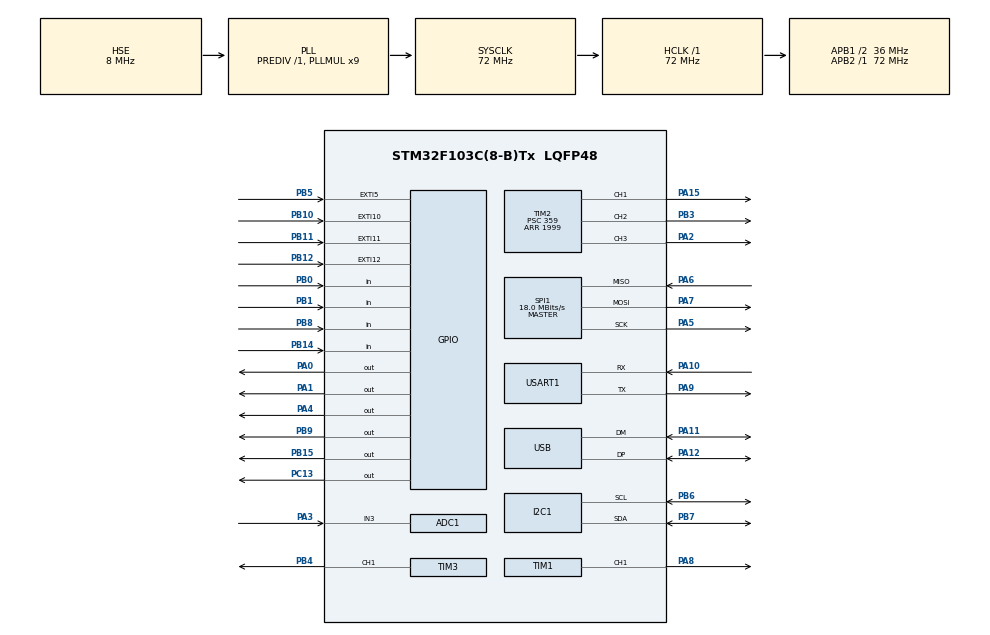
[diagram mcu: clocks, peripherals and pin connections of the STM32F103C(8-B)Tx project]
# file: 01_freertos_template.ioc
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ADC1.Channel-1\#ChannelRegularConversion=ADC_CHANNEL_3
ADC1.NbrOfConversionFlag=1
ADC1.Rank-1\#ChannelRegularConversion=1
ADC1.SamplingTime-1\#ChannelRegularConversion=ADC_SAMPLETIME_1CYCLE_5
ADC1.master=1
FREERTOS.Tasks01=defaultTask,24,128,StartDefaultTask,Default,NULL,Dynamic,NULL,NULL
Mcu.Family=STM32F1
Mcu.Name=STM32F103C(8-B)Tx
Mcu.Package=LQFP48
NVIC.EXTI15_10_IRQn=true\:5\:0\:false\:false\:true\:false\:true\:true\:true
NVIC.PriorityGroup=NVIC_PRIORITYGROUP_4
NVIC.TIM4_IRQn=true\:15\:0\:false\:false\:true\:false\:false\:true\:true
NVIC.TimeBase=TIM4_IRQn
NVIC.TimeBaseIP=TIM4
PA0-WKUP.Signal=GPIO_Output
PA1.GPIO_ModeDefaultOutputPP=GPIO_MODE_OUTPUT_OD
PA1.GPIO_PuPd=GPIO_PULLUP
PA1.Signal=GPIO_Output
PA10.Mode=Asynchronous
PA10.Signal=USART1_RX
PA11.Mode=Device
PA11.Signal=USB_DM
PA12.Mode=Device
PA12.Signal=USB_DP
PA13.Mode=Serial_Wire
PA13.Signal=SYS_JTMS-SWDIO
PA14.Mode=Serial_Wire
PA14.Signal=SYS_JTCK-SWCLK
PA15.Signal=S_TIM2_CH1_ETR
PA2.Signal=S_TIM2_CH3
PA3.Signal=ADCx_IN3
PA4.Signal=GPIO_Output
PA5.Mode=Full_Duplex_Master
PA5.Signal=SPI1_SCK
PA6.Mode=Full_Duplex_Master
PA6.Signal=SPI1_MISO
PA7.Mode=Full_Duplex_Master
PA7.Signal=SPI1_MOSI
PA8.Signal=S_TIM1_CH1
PA9.Mode=Asynchronous
PA9.Signal=USART1_TX
PB0.GPIO_PuPd=GPIO_PULLUP
PB0.Signal=GPIO_Input
PB1.GPIO_PuPd=GPIO_PULLUP
PB1.Signal=GPIO_Input
PB10.GPIO_ModeDefaultEXTI=GPIO_MODE_IT_RISING_FALLING
PB10.GPIO_PuPd=GPIO_PULLUP
PB10.Signal=GPXTI10
PB11.GPIO_PuPd=GPIO_PULLUP
PB11.Signal=GPXTI11
PB12.GPIO_ModeDefaultEXTI=GPIO_MODE_IT_RISING
PB12.Signal=GPXTI12
PB14.Signal=GPIO_Input
PB15.Signal=GPIO_Output
PB3.Signal=S_TIM2_CH2
PB4.Signal=S_TIM3_CH1
PB5.GPIO_PuPd=GPIO_PULLUP
PB5.Signal=GPXTI5
PB6.Mode=I2C
PB6.Signal=I2C1_SCL
PB7.Mode=I2C
PB7.Signal=I2C1_SDA
PB8.Signal=GPIO_Input
PB9.Signal=GPIO_Output
PC13-TAMPER-RTC.Signal=GPIO_Output
PC14-OSC32_IN.Signal=RCC_OSC32_IN
PC15-OSC32_OUT.Signal=RCC_OSC32_OUT
PD0-OSC_IN.Mode=HSE-External-Oscillator
PD0-OSC_IN.Signal=RCC_OSC_IN
PD1-OSC_OUT.Mode=HSE-External-Oscillator
PD1-OSC_OUT.Signal=RCC_OSC_OUT
ProjectManager.HeapSize=0x200
ProjectManager.StackSize=0x400
ProjectManager.TargetToolchain=MDK-ARM V5.32
RCC.ADCPresc=RCC_ADCPCLK2_DIV6
RCC.AHBFreq_Value=72000000
RCC.APB1CLKDivider=RCC_HCLK_DIV2
RCC.APB1Freq_Value=36000000
RCC.APB1TimFreq_Value=72000000
RCC.APB2Freq_Value=72000000
RCC.APB2TimFreq_Value=72000000
RCC.HCLKFreq_Value=72000000
RCC.PLLMUL=RCC_PLL_MUL9
RCC.PLLSourceVirtual=RCC_PLLSOURCE_HSE
RCC.SYSCLKFreq_VALUE=72000000
RCC.SYSCLKSource=RCC_SYSCLKSOURCE_PLLCLK
RCC.USBFreq_Value=48000000
RCC.USBPrescaler=RCC_USBCLKSOURCE_PLL_DIV1_5
SH.ADCx_IN3.0=ADC1_IN3,IN3
SH.S_TIM1_CH1.0=TIM1_CH1,PWM Generation1 CH1
SH.S_TIM2_CH1_ETR.0=TIM2_CH1,PWM Generation1 CH1
SH.S_TIM2_CH2.0=TIM2_CH2,PWM Generation2 CH2
SH.S_TIM2_CH3.0=TIM2_CH3,PWM Generation3 CH3
SH.S_TIM3_CH1.0=TIM3_CH1,PWM Generation1 CH1
SPI1.BaudRatePrescaler=SPI_BAUDRATEPRESCALER_4
SPI1.CalculateBaudRate=18.0 MBits/s
SPI1.Direction=SPI_DIRECTION_2LINES
SPI1.Mode=SPI_MODE_MASTER
SPI1.VirtualType=VM_MASTER
TIM1.AutoReloadPreload=TIM_AUTORELOAD_PRELOAD_ENABLE
TIM1.Channel-PWM\ Generation1\ CH1=TIM_CHANNEL_1
TIM1.Period=999
TIM1.Prescaler=71
TIM1.Pulse-PWM\ Generation1\ CH1=499
TIM2.AutoReloadPreload=TIM_AUTORELOAD_PRELOAD_ENABLE
TIM2.Channel-PWM\ Generation1\ CH1=TIM_CHANNEL_1
TIM2.Channel-PWM\ Generation2\ CH2=TIM_CHANNEL_2
TIM2.Channel-PWM\ Generation3\ CH3=TIM_CHANNEL_3
TIM2.Period=1999
TIM2.Prescaler=359
TIM3.AutoReloadPreload=TIM_AUTORELOAD_PRELOAD_ENABLE
TIM3.Channel-PWM\ Generation1\ CH1=TIM_CHANNEL_1
TIM3.Period=999
TIM3.Prescaler=7
TIM3.Pulse-PWM\ Generation1\ CH1=900
USART1.VirtualMode=VM_ASYNC
VP_FREERTOS_VS_CMSIS_V2.Mode=CMSIS_V2
VP_SYS_VS_tim4.Mode=TIM4
VP_TIM1_VS_ClockSourceINT.Mode=Internal
VP_TIM2_VS_ClockSourceINT.Mode=Internal
board=custom

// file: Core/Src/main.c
/* USER CODE BEGIN Header */
/**
  ******************************************************************************
  * @file           : main.c
  * @brief          : Main program body
  ******************************************************************************
  * @attention
  *
  * Copyright (c) 2023 STMicroelectronics.
  * All rights reserved.
  *
  * This software is licensed under terms that can be found in the LICENSE file
  * in the root directory of this software component.
  * If no LICENSE file comes with this software, it is provided AS-IS.
  *
  ******************************************************************************
  */
/* USER CODE END Header */
#include "main.h"
#include "cmsis_os.h"
#include "adc.h"
#include "i2c.h"
#include "spi.h"
#include "tim.h"
#include "usart.h"
#include "usb.h"
#include "gpio.h"

void SystemClock_Config(void);
void MX_FREERTOS_Init(void);

int main(void)
{

  /* MCU Configuration--------------------------------------------------------*/

  /* Reset of all peripherals, Initializes the Flash interface and the Systick. */
  HAL_Init();

  /* Configure the system clock */
  SystemClock_Config();

  /* Initialize all configured peripherals */
  MX_GPIO_Init();
  MX_I2C1_Init();
  MX_ADC1_Init();
  MX_SPI1_Init();
  MX_USB_PCD_Init();
  MX_TIM1_Init();
  MX_TIM2_Init();
  MX_TIM3_Init();
  MX_USART1_UART_Init();

  /* Init scheduler */
  osKernelInitialize();  /* Call init function for freertos objects (in freertos.c) */
  MX_FREERTOS_Init();

  /* Start scheduler */
  osKernelStart();
  /* We should never get here as control is now taken by the scheduler */
  /* Infinite loop */
  while (1)
  {

  }
}

void SystemClock_Config(void)
{
  RCC_OscInitTypeDef RCC_OscInitStruct = {0};
  RCC_ClkInitTypeDef RCC_ClkInitStruct = {0};
  RCC_PeriphCLKInitTypeDef PeriphClkInit = {0};

  /** Initializes the RCC Oscillators according to the specified parameters
  * in the RCC_OscInitTypeDef structure.
  */
  RCC_OscInitStruct.OscillatorType = RCC_OSCILLATORTYPE_HSE;
  RCC_OscInitStruct.HSEState = RCC_HSE_ON;
  RCC_OscInitStruct.HSEPredivValue = RCC_HSE_PREDIV_DIV1;
  RCC_OscInitStruct.HSIState = RCC_HSI_ON;
  RCC_OscInitStruct.PLL.PLLState = RCC_PLL_ON;
  RCC_OscInitStruct.PLL.PLLSource = RCC_PLLSOURCE_HSE;
  RCC_OscInitStruct.PLL.PLLMUL = RCC_PLL_MUL9;
  if (HAL_RCC_OscConfig(&RCC_OscInitStruct) != HAL_OK)
  {
    Error_Handler();
  }

  /** Initializes the CPU, AHB and APB buses clocks
  */
  RCC_ClkInitStruct.ClockType = RCC_CLOCKTYPE_HCLK|RCC_CLOCKTYPE_SYSCLK
                              |RCC_CLOCKTYPE_PCLK1|RCC_CLOCKTYPE_PCLK2;
  RCC_ClkInitStruct.SYSCLKSource = RCC_SYSCLKSOURCE_PLLCLK;
  RCC_ClkInitStruct.AHBCLKDivider = RCC_SYSCLK_DIV1;
  RCC_ClkInitStruct.APB1CLKDivider = RCC_HCLK_DIV2;
  RCC_ClkInitStruct.APB2CLKDivider = RCC_HCLK_DIV1;

  if (HAL_RCC_ClockConfig(&RCC_ClkInitStruct, FLASH_LATENCY_2) != HAL_OK)
  {
    Error_Handler();
  }
  PeriphClkInit.PeriphClockSelection = RCC_PERIPHCLK_ADC|RCC_PERIPHCLK_USB;
  PeriphClkInit.AdcClockSelection = RCC_ADCPCLK2_DIV6;
  PeriphClkInit.UsbClockSelection = RCC_USBCLKSOURCE_PLL_DIV1_5;
  if (HAL_RCCEx_PeriphCLKConfig(&PeriphClkInit) != HAL_OK)
  {
    Error_Handler();
  }
}

void HAL_TIM_PeriodElapsedCallback(TIM_HandleTypeDef *htim)
{
  if (htim->Instance == TIM4) {
    HAL_IncTick();
  }
}

void Error_Handler(void)
{
  __disable_irq();
  while (1)
  {
  }
}

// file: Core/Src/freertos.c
/* USER CODE BEGIN Header */
#include "driver_led.h"
#include "driver_lcd.h"
#include "driver_mpu6050.h"
#include "driver_timer.h"
#include "driver_ds18b20.h"
#include "driver_dht11.h"
#include "driver_active_buzzer.h"
#include "driver_passive_buzzer.h"
#include "driver_color_led.h"
#include "driver_ir_receiver.h"
#include "driver_ir_sender.h"
#include "driver_light_sensor.h"
#include "driver_ir_obstacle.h"
#include "driver_ultrasonic_sr04.h"
#include "driver_spiflash_w25q64.h"
#include "driver_rotary_encoder.h"
#include "driver_motor.h"
#include "driver_key.h"
#include "driver_uart.h"

/**
  ******************************************************************************
  * File Name          : freertos.c
  * Description        : Code for freertos applications
  ******************************************************************************
  * @attention
  *
  * Copyright (c) 2023 STMicroelectronics.
  * All rights reserved.
  *
  * This software is licensed under terms that can be found in the LICENSE file
  * in the root directory of this software component.
  * If no LICENSE file comes with this software, it is provided AS-IS.
  *
  ******************************************************************************
  */
/* USER CODE END Header */

#include "FreeRTOS.h"
#include "task.h"
#include "main.h"
#include "cmsis_os.h"

/* USER CODE BEGIN Variables */
static StackType_t g_pucStackOfLightTask[128];
static StaticTask_t g_TCBofLightTask;
static TaskHandle_t xLightTaskHandle;

static StackType_t g_pucStackOfColorTask[128];
static StaticTask_t g_TCBofColorTask;
static TaskHandle_t xColorTaskHandle;

/* USER CODE END Variables */
/* Definitions for defaultTask */
osThreadId_t defaultTaskHandle;
const osThreadAttr_t defaultTask_attributes = {
  .name = "defaultTask",
  .stack_size = 128 * 4,
  .priority = (osPriority_t) osPriorityNormal,
};

/* USER CODE BEGIN FunctionPrototypes */
struct TaskPrintInfo {
	uint8_t x;
	uint8_t y;
	char name[16];
};

static struct TaskPrintInfo g_Task1Info = {0, 0, "Task1"};
static struct TaskPrintInfo g_Task2Info = {0, 3, "Task2"};
static struct TaskPrintInfo g_Task3Info = {0, 6, "Task3"};
static int g_LCDCanUse = 1;

void LcdPrintTask(void *params)
{
	struct TaskPrintInfo *pInfo = params;
	uint32_t cnt = 0;
	int len;

	while (1)
	{
		/* 打印信息 */
		if (g_LCDCanUse)
		{
			g_LCDCanUse = 0;
			len = LCD_PrintString(pInfo->x, pInfo->y, pInfo->name);
			len += LCD_PrintString(len, pInfo->y, ":");
			LCD_PrintSignedVal(len, pInfo->y, cnt++);
			g_LCDCanUse = 1;
		}
		mdelay(500);
	}
}

/* USER CODE END FunctionPrototypes */

void StartDefaultTask(void *argument);

void MX_FREERTOS_Init(void); /* (MISRA C 2004 rule 8.1) */

void MX_FREERTOS_Init(void) {
  /* USER CODE BEGIN Init */
	TaskHandle_t xSoundTaskHandle;
	BaseType_t ret;

	LCD_Init();
	LCD_Clear();

  /* USER CODE END Init */

  /* Create the thread(s) */
  /* creation of defaultTask */
  //defaultTaskHandle = osThreadNew(StartDefaultTask, NULL, &defaultTask_attributes);

  /* USER CODE BEGIN RTOS_THREADS */
  /* add threads, ... */
  /* 创建任务: 声 */
  extern void PlayMusic(void *params);
  //ret = xTaskCreate(PlayMusic, "SoundTask", 128, NULL, osPriorityNormal, &xSoundTaskHandle);

  /* 创建任务: 光 */
  //xLightTaskHandle = xTaskCreateStatic(Led_Test, "LightTask", 128, NULL, osPriorityNormal, g_pucStackOfLightTask, &g_TCBofLightTask);

  /* 创建任务: 色 */
  //xColorTaskHandle = xTaskCreateStatic(ColorLED_Test, "ColorTask", 128, NULL, osPriorityNormal, g_pucStackOfColorTask, &g_TCBofColorTask);

  /* 使用同一个函数创建不同的任务 */
  xTaskCreate(LcdPrintTask, "task1", 128, &g_Task1Info, osPriorityNormal, NULL);
  xTaskCreate(LcdPrintTask, "task2", 128, &g_Task2Info, osPriorityNormal, NULL);
  xTaskCreate(LcdPrintTask, "task3", 128, &g_Task3Info, osPriorityNormal, NULL);

  /* USER CODE END RTOS_THREADS */

}

void StartDefaultTask(void *argument)
{
  /* USER CODE BEGIN StartDefaultTask */
  /* Infinite loop */
  LCD_Init();
  LCD_Clear();

  for(;;)
  {
    //Led_Test();
    //LCD_Test();
	//MPU6050_Test();
	//DS18B20_Test();
	//DHT11_Test();
	//ActiveBuzzer_Test();
	//PassiveBuzzer_Test();
	//ColorLED_Test();
	IRReceiver_Test();  /* 影 */
	//IRSender_Test();
	//LightSensor_Test();
	//IRObstacle_Test();
	//SR04_Test();
	//W25Q64_Test();
	//RotaryEncoder_Test();
	//Motor_Test();
	//Key_Test();
	//UART_Test();
  }
  /* USER CODE END StartDefaultTask */
}
